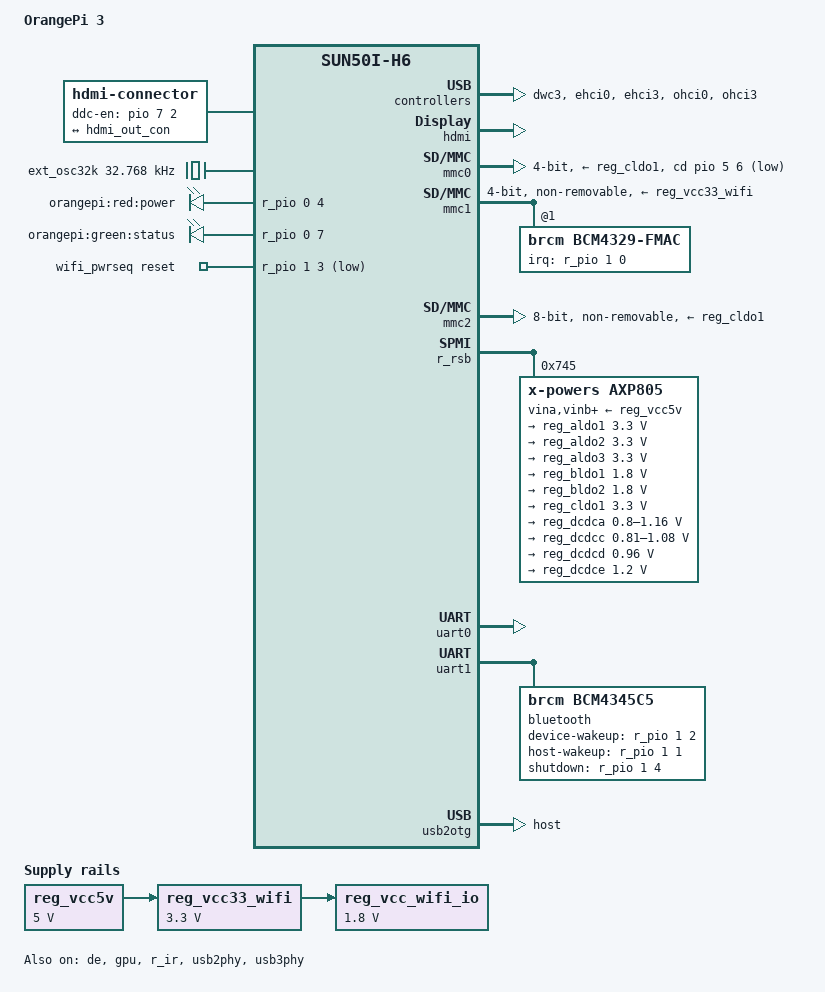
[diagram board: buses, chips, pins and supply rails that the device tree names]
// SPDX-License-Identifier: (GPL-2.0+ OR MIT)
// Copyright (C) 2019 Ondřej Jirman <megous@megous.com>

/dts-v1/;

#include "sun50i-h6.dtsi"
#include "sun50i-h6-cpu-opp.dtsi"

#include <dt-bindings/gpio/gpio.h>

/ {
	model = "OrangePi 3";
	compatible = "xunlong,orangepi-3", "allwinner,sun50i-h6";

	aliases {
		serial0 = &uart0;
		serial1 = &uart1;
	};

	chosen {
		stdout-path = "serial0:115200n8";
	};

	connector {
		compatible = "hdmi-connector";
		ddc-en-gpios = <&pio 7 2 GPIO_ACTIVE_HIGH>; /* PH2 */
		type = "a";

		port {
			hdmi_con_in: endpoint {
				remote-endpoint = <&hdmi_out_con>;
			};
		};
	};

	ext_osc32k: ext-osc32k-clk {
		#clock-cells = <0>;
		compatible = "fixed-clock";
		clock-frequency = <32768>;
		clock-output-names = "ext_osc32k";
	};

	leds {
		compatible = "gpio-leds";

		led-0 {
			label = "orangepi:red:power";
			gpios = <&r_pio 0 4 GPIO_ACTIVE_HIGH>; /* PL4 */
			default-state = "on";
		};

		led-1 {
			label = "orangepi:green:status";
			gpios = <&r_pio 0 7 GPIO_ACTIVE_HIGH>; /* PL7 */
		};
	};

	reg_vcc5v: vcc5v {
		/* board wide 5V supply directly from the DC jack */
		compatible = "regulator-fixed";
		regulator-name = "vcc-5v";
		regulator-min-microvolt = <5000000>;
		regulator-max-microvolt = <5000000>;
		regulator-always-on;
	};

	reg_vcc33_wifi: vcc33-wifi {
		/* Always on 3.3V regulator for WiFi and BT */
		compatible = "regulator-fixed";
		regulator-name = "vcc33-wifi";
		regulator-min-microvolt = <3300000>;
		regulator-max-microvolt = <3300000>;
		regulator-always-on;
		vin-supply = <&reg_vcc5v>;
	};

	reg_vcc_wifi_io: vcc-wifi-io {
		/* Always on 1.8V/300mA regulator for WiFi and BT IO */
		compatible = "regulator-fixed";
		regulator-name = "vcc-wifi-io";
		regulator-min-microvolt = <1800000>;
		regulator-max-microvolt = <1800000>;
		regulator-always-on;
		vin-supply = <&reg_vcc33_wifi>;
	};

	wifi_pwrseq: wifi-pwrseq {
		compatible = "mmc-pwrseq-simple";
		clocks = <&rtc CLK_OSC32K_FANOUT>;
		clock-names = "ext_clock";
		reset-gpios = <&r_pio 1 3 GPIO_ACTIVE_LOW>; /* PM3 */
		post-power-on-delay-ms = <200>;
	};
};

&cpu0 {
	cpu-supply = <&reg_dcdca>;
};

&de {
	status = "okay";
};

&dwc3 {
	status = "okay";
};

&ehci0 {
	status = "okay";
};

&ehci3 {
	status = "okay";
};

&gpu {
	mali-supply = <&reg_dcdcc>;
	status = "okay";
};

&hdmi {
	status = "okay";
};

&hdmi_out {
	hdmi_out_con: endpoint {
		remote-endpoint = <&hdmi_con_in>;
	};
};

&mmc0 {
	vmmc-supply = <&reg_cldo1>;
	cd-gpios = <&pio 5 6 GPIO_ACTIVE_LOW>; /* PF6 */
	bus-width = <4>;
	status = "okay";
};

&mmc1 {
	vmmc-supply = <&reg_vcc33_wifi>;
	vqmmc-supply = <&reg_vcc_wifi_io>;
	mmc-pwrseq = <&wifi_pwrseq>;
	bus-width = <4>;
	non-removable;
	status = "okay";

	brcm: sdio-wifi@1 {
		reg = <1>;
		compatible = "brcm,bcm4329-fmac";
		interrupt-parent = <&r_pio>;
		interrupts = <1 0 IRQ_TYPE_LEVEL_LOW>; /* PM0 */
		interrupt-names = "host-wake";
	};
};

&mmc2 {
	vmmc-supply = <&reg_cldo1>;
	vqmmc-supply = <&reg_bldo2>;
	cap-mmc-hw-reset;
	non-removable;
	bus-width = <8>;
	status = "okay";
};

&ohci0 {
	status = "okay";
};

&ohci3 {
	status = "okay";
};

&pio {
	vcc-pc-supply = <&reg_bldo2>;
	vcc-pd-supply = <&reg_cldo1>;
	vcc-pg-supply = <&reg_vcc_wifi_io>;
};

&r_ir {
	status = "okay";
};

&r_rsb {
	status = "okay";

	axp805: pmic@745 {
		compatible = "x-powers,axp805", "x-powers,axp806";
		reg = <0x745>;
		interrupt-parent = <&r_intc>;
		interrupts = <GIC_SPI 96 IRQ_TYPE_LEVEL_LOW>;
		interrupt-controller;
		#interrupt-cells = <1>;
		x-powers,self-working-mode;
		vina-supply = <&reg_vcc5v>;
		vinb-supply = <&reg_vcc5v>;
		vinc-supply = <&reg_vcc5v>;
		vind-supply = <&reg_vcc5v>;
		vine-supply = <&reg_vcc5v>;
		aldoin-supply = <&reg_vcc5v>;
		bldoin-supply = <&reg_vcc5v>;
		cldoin-supply = <&reg_vcc5v>;

		regulators {
			reg_aldo1: aldo1 {
				regulator-always-on;
				regulator-min-microvolt = <3300000>;
				regulator-max-microvolt = <3300000>;
				regulator-name = "vcc-pl-led-ir";
			};

			reg_aldo2: aldo2 {
				regulator-min-microvolt = <3300000>;
				regulator-max-microvolt = <3300000>;
				regulator-name = "vcc33-audio-tv-ephy-mac";
			};

			/* ALDO3 is shorted to CLDO1 */
			reg_aldo3: aldo3 {
				regulator-always-on;
				regulator-min-microvolt = <3300000>;
				regulator-max-microvolt = <3300000>;
				regulator-name = "vcc33-io-pd-emmc-sd-usb-uart-1";
			};

			reg_bldo1: bldo1 {
				regulator-always-on;
				regulator-min-microvolt = <1800000>;
				regulator-max-microvolt = <1800000>;
				regulator-name = "vcc18-dram-bias-pll";
			};

			reg_bldo2: bldo2 {
				regulator-always-on;
				regulator-min-microvolt = <1800000>;
				regulator-max-microvolt = <1800000>;
				regulator-name = "vcc-efuse-pcie-hdmi-pc";
			};

			bldo3 {
				/* unused */
			};

			bldo4 {
				/* unused */
			};

			reg_cldo1: cldo1 {
				regulator-always-on;
				regulator-min-microvolt = <3300000>;
				regulator-max-microvolt = <3300000>;
				regulator-name = "vcc33-io-pd-emmc-sd-usb-uart-2";
			};

			cldo2 {
				/* unused */
			};

			cldo3 {
				/* unused */
			};

			reg_dcdca: dcdca {
				regulator-always-on;
				regulator-min-microvolt = <800000>;
				regulator-max-microvolt = <1160000>;
				regulator-ramp-delay = <2500>;
				regulator-name = "vdd-cpu";
			};

			reg_dcdcc: dcdcc {
				regulator-enable-ramp-delay = <32000>;
				regulator-min-microvolt = <810000>;
				regulator-max-microvolt = <1080000>;
				regulator-ramp-delay = <2500>;
				regulator-name = "vdd-gpu";
			};

			reg_dcdcd: dcdcd {
				regulator-always-on;
				regulator-min-microvolt = <960000>;
				regulator-max-microvolt = <960000>;
				regulator-name = "vdd-sys";
			};

			reg_dcdce: dcdce {
				regulator-always-on;
				regulator-min-microvolt = <1200000>;
				regulator-max-microvolt = <1200000>;
				regulator-name = "vcc-dram";
			};

			sw {
				/* unused */
			};
		};
	};
};

&rtc {
	clocks = <&ext_osc32k>;
};

&uart0 {
	pinctrl-names = "default";
	pinctrl-0 = <&uart0_ph_pins>;
	status = "okay";
};

/* There's the BT part of the AP6256 connected to that UART */
&uart1 {
	pinctrl-names = "default";
	pinctrl-0 = <&uart1_pins>, <&uart1_rts_cts_pins>;
	uart-has-rtscts;
	status = "okay";

	bluetooth {
		compatible = "brcm,bcm4345c5";
		clocks = <&rtc CLK_OSC32K_FANOUT>;
		clock-names = "lpo";
		device-wakeup-gpios = <&r_pio 1 2 GPIO_ACTIVE_HIGH>; /* PM2 */
		host-wakeup-gpios = <&r_pio 1 1 GPIO_ACTIVE_HIGH>; /* PM1 */
		shutdown-gpios = <&r_pio 1 4 GPIO_ACTIVE_HIGH>; /* PM4 */
		max-speed = <1500000>;
	};
};

&usb2otg {
	/*
	 * This board doesn't have a controllable VBUS even though it
	 * does have an ID pin. Using it as anything but a USB host is
	 * unsafe.
	 */
	dr_mode = "host";
	status = "okay";
};

&usb2phy {
	usb0_id_det-gpios = <&pio 2 15 GPIO_ACTIVE_HIGH>; /* PC15 */
	usb0_vbus-supply = <&reg_vcc5v>;
	usb3_vbus-supply = <&reg_vcc5v>;
	status = "okay";
};

&usb3phy {
	status = "okay";
};
